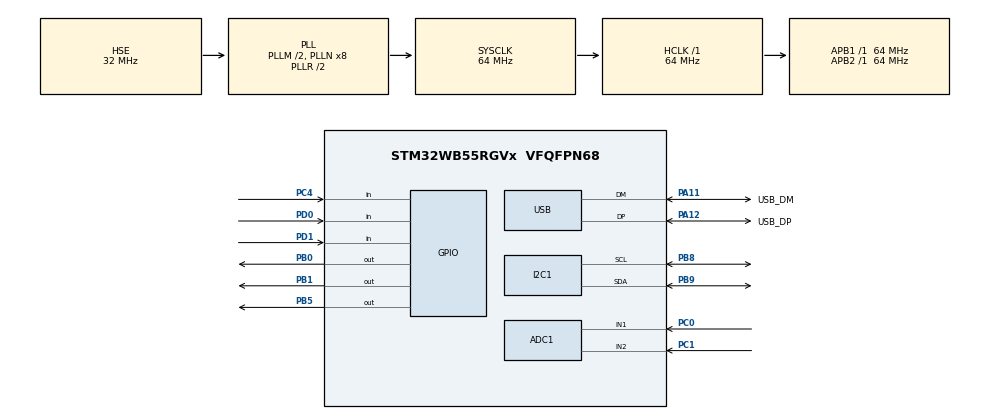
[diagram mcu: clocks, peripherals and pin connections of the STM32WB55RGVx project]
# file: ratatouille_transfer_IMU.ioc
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ADC1.Channel-0\#ChannelRegularConversion=ADC_CHANNEL_1
ADC1.Channel-1\#ChannelRegularConversion=ADC_CHANNEL_2
ADC1.ClockPrescaler=ADC_CLOCK_SYNC_PCLK_DIV1
ADC1.ContinuousConvMode=ENABLE
ADC1.DMAContinuousRequests=ENABLE
ADC1.NbrOfConversion=2
ADC1.NbrOfConversionFlag=1
ADC1.OffsetNumber-0\#ChannelRegularConversion=ADC_OFFSET_NONE
ADC1.OffsetNumber-1\#ChannelRegularConversion=ADC_OFFSET_NONE
ADC1.Rank-0\#ChannelRegularConversion=1
ADC1.Rank-1\#ChannelRegularConversion=2
ADC1.SamplingTime-0\#ChannelRegularConversion=ADC_SAMPLETIME_247CYCLES_5
ADC1.SamplingTime-1\#ChannelRegularConversion=ADC_SAMPLETIME_247CYCLES_5
ADC1.master=1
Dma.ADC1.0.Direction=DMA_PERIPH_TO_MEMORY
Dma.ADC1.0.EventEnable=DISABLE
Dma.ADC1.0.Instance=DMA1_Channel1
Dma.ADC1.0.MemDataAlignment=DMA_MDATAALIGN_HALFWORD
Dma.ADC1.0.MemInc=DMA_MINC_ENABLE
Dma.ADC1.0.Mode=DMA_CIRCULAR
Dma.ADC1.0.PeriphDataAlignment=DMA_PDATAALIGN_HALFWORD
Dma.ADC1.0.PeriphInc=DMA_PINC_DISABLE
Dma.ADC1.0.Polarity=HAL_DMAMUX_REQ_GEN_RISING
Dma.ADC1.0.Priority=DMA_PRIORITY_LOW
Dma.ADC1.0.RequestNumber=1
Dma.ADC1.0.SignalID=NONE
Dma.ADC1.0.SyncEnable=DISABLE
Dma.ADC1.0.SyncPolarity=HAL_DMAMUX_SYNC_NO_EVENT
Dma.ADC1.0.SyncRequestNumber=1
Dma.ADC1.0.SyncSignalID=NONE
Dma.Request0=ADC1
I2C1.Timing=0x10B17DB5
Mcu.Family=STM32WB
Mcu.Name=STM32WB55RGVx
Mcu.Package=VFQFPN68
NUCLEO-WB55RG.BUTTON=1
NUCLEO-WB55RG.BUTTON2=1
NUCLEO-WB55RG.BUTTON3=1
NUCLEO-WB55RG.LD1=true
NUCLEO-WB55RG.LD2=true
NUCLEO-WB55RG.LD3=true
NUCLEO-WB55RG.VCP=true
NVIC.ADC1_IRQn=true\:2\:0\:true\:false\:true\:true\:true\:true
NVIC.DMA1_Channel1_IRQn=true\:0\:0\:false\:false\:true\:false\:true\:true
NVIC.EXTI0_IRQn=true\:3\:0\:true\:false\:true\:false\:true\:true
NVIC.EXTI1_IRQn=true\:3\:0\:true\:false\:true\:false\:true\:true
NVIC.EXTI4_IRQn=true\:3\:0\:true\:false\:true\:false\:true\:true
NVIC.I2C1_ER_IRQn=true\:0\:0\:false\:false\:true\:true\:true\:true
NVIC.I2C1_EV_IRQn=true\:0\:0\:false\:false\:true\:true\:true\:true
NVIC.PriorityGroup=NVIC_PRIORITYGROUP_4
NVIC.TIM2_IRQn=true\:0\:0\:false\:false\:true\:true\:true\:true
NVIC.USB_HP_IRQn=true\:0\:0\:false\:false\:true\:true\:true\:true
NVIC.USB_LP_IRQn=true\:0\:0\:false\:false\:true\:true\:true\:true
OSC_IN.GPIO_Label=RCC_OSC_IN
OSC_IN.Mode=HSE-External-Oscillator
OSC_IN.Signal=RCC_OSC_IN
OSC_OUT.GPIO_Label=RCC_OSC_OUT
OSC_OUT.Mode=HSE-External-Oscillator
OSC_OUT.Signal=RCC_OSC_OUT
PA11.GPIO_Label=USB_DM
PA11.Mode=Device
PA11.Signal=USB_DM
PA12.GPIO_Label=USB_DP
PA12.Mode=Device
PA12.Signal=USB_DP
PA13.GPIO_Label=JTMS
PA13.Signal=SYS_JTMS-SWDIO
PA14.GPIO_Label=JTCK
PA14.Signal=SYS_JTCK-SWCLK
PB0.Signal=GPIO_Output
PB1.Signal=GPIO_Output
PB3.GPIO_Label=JTDO
PB3.Signal=SYS_JTDO-SWO
PB5.Signal=GPIO_Output
PB6.Signal=USART1_TX
PB7.Signal=USART1_RX
PB8.Mode=I2C
PB8.Signal=I2C1_SCL
PB9.Mode=I2C
PB9.Signal=I2C1_SDA
PC0.Signal=ADCx_IN1
PC1.Signal=ADCx_IN2
PC13.GPIO_Label=SYS_WKUP2
PC13.Signal=SYS_WKUP2
PC14-OSC32_IN.GPIO_Label=RCC_OSC32_IN
PC14-OSC32_IN.Mode=LSE-External-Oscillator
PC14-OSC32_IN.Signal=RCC_OSC32_IN
PC15-OSC32_OUT.GPIO_Label=RCC_OSC32_OUT
PC15-OSC32_OUT.Mode=LSE-External-Oscillator
PC15-OSC32_OUT.Signal=RCC_OSC32_OUT
PC4.Signal=GPIO_Input
PD0.Signal=GPIO_Input
PD1.Signal=GPIO_Input
ProjectManager.HeapSize=0x200
ProjectManager.StackSize=0x400
ProjectManager.TargetToolchain=STM32CubeIDE
RCC.ADCFreq_Value=48000000
RCC.AHB2CLKDivider=RCC_SYSCLK_DIV2
RCC.AHBFreq_Value=64000000
RCC.APB1Freq_Value=64000000
RCC.APB1TimFreq_Value=64000000
RCC.APB2Freq_Value=64000000
RCC.APB2TimFreq_Value=64000000
RCC.APB3Freq_Value=16000000
RCC.Cortex2_Div=SYSTICK_CLKSOURCE_HCLK_DIV8
RCC.CortexFreq_Value=64000000
RCC.HCLKFreq_Value=64000000
RCC.HSE_VALUE=32000000
RCC.HSI48_VALUE=48000000
RCC.HSI_VALUE=16000000
RCC.PLLM=RCC_PLLM_DIV2
RCC.PLLSAI1N=6
RCC.PLLSourceVirtual=RCC_PLLSOURCE_HSE
RCC.SMPSCLockSelection=RCC_SMPSCLKSOURCE_HSI
RCC.SMPSCLockSelectionVirtual=RCC_SMPSCLKSOURCE_HSI
RCC.SMPSCLockSelectionVirtualVirtual=RCC_SMPSCLKSOURCE_HSI
RCC.SMPSDivider=1
RCC.SYSCLKFreq_VALUE=64000000
RCC.SYSCLKSource=RCC_SYSCLKSOURCE_PLLCLK
RCC.USBFreq_Value=48000000
RCC.VCOOutputFreq_Value=128000000
SH.ADCx_IN1.0=ADC1_IN1,IN1-Single-Ended
SH.ADCx_IN2.0=ADC1_IN2,IN2-Single-Ended
TIM2.AutoReloadPreload=TIM_AUTORELOAD_PRELOAD_ENABLE
TIM2.CounterMode=TIM_COUNTERMODE_UP
TIM2.Period=64000-1
TIM2.Prescaler=10
TIM2.TIM_MasterOutputTrigger=TIM_TRGO_UPDATE
USB_DEVICE.CLASS_NAME_FS=CDC
USB_DEVICE.USBD_DEBUG_LEVEL=2
USB_DEVICE.VirtualMode=Cdc
USB_DEVICE.VirtualModeFS=Cdc_FS
VP_MEMORYMAP_VS_MEMORYMAP.Mode=CurAppReg
VP_NUCLEO-WB55RG_VS_BSP_COMMON.Mode=COMMON
VP_TIM2_VS_ClockSourceINT.Mode=Internal
VP_USB_DEVICE_VS_USB_DEVICE_CDC_FS.Mode=CDC_FS
board=NUCLEO-WB55RG

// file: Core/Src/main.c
/* USER CODE BEGIN Header */
/**
  ******************************************************************************
  * @file           : main.c
  * @brief          : Main program body
  ******************************************************************************
  * @attention
  *
  * Copyright (c) 2024 STMicroelectronics.
  * All rights reserved.
  *
  * This software is licensed under terms that can be found in the LICENSE file
  * in the root directory of this software component.
  * If no LICENSE file comes with this software, it is provided AS-IS.
  *
  ******************************************************************************
  */
/* USER CODE END Header */
#include "main.h"
#include "usb_device.h"

/* USER CODE BEGIN Includes */
#include <stdio.h>
#include <stdint.h>
#include <string.h>
#include "usbd_cdc_if.h"
#include "bmi160_wrapper.h"
/* USER CODE END Includes */

/* USER CODE BEGIN PTD */
BMI160_t imu_t;
/* USER CODE END PTD */

COM_InitTypeDef BspCOMInit;
ADC_HandleTypeDef hadc1;
DMA_HandleTypeDef hdma_adc1;

I2C_HandleTypeDef hi2c1;

TIM_HandleTypeDef htim2;

/* USER CODE BEGIN PV */

/* Analog */
uint16_t mic = 0;
uint16_t mic2 = 0;
uint16_t rawValues[2];
/* Analog END */

/* USB */
uint8_t message[] = "USB VCP Test\n";
uint8_t flag = 0;
char msg[50];

uint16_t a = 7;
uint16_t b = 9;
uint8_t USB_buffer[32];
size_t packet_length;
/* USB END */

/* Mouse */
int delay = 5;
int8_t x = 0;
int8_t y = 0;
/* Mouse END */

/* IMU */
float g_f32[3] = {0.0f, 0.0f, 0.0f};
float a_f32[3] = {0.0f, 0.0f, 0.0f};
float g = 9.81f;
/* IMU END */
/* USER CODE END PV */

void SystemClock_Config(void);
void PeriphCommonClock_Config(void);
static void MX_GPIO_Init(void);
static void MX_DMA_Init(void);
static void MX_ADC1_Init(void);
static void MX_TIM2_Init(void);
static void MX_I2C1_Init(void);
/* USER CODE BEGIN PFP */
void prepare_data_packet_both(float g_f32[3], float a_f32[3], uint16_t var1, uint16_t var2, uint8_t *buffer, size_t *length);
void prepare_data_packet_IMU(float g_f32[3], float a_f32[3], uint8_t *buffer, size_t *length);

/*unused/legacy */
void send_packet_joystick(int8_t x, int8_t y);
void move_square(int delay);
/* USER CODE END PFP */

/* USER CODE BEGIN 0 */
void HAL_TIM_PeriodElapsedCallback(TIM_HandleTypeDef *htim2)
  {
	////this updates the X and Y axes of my joystick
	  for(uint8_t i = 0; i<hadc1.Init.NbrOfConversion; i++){
		  mic = (uint16_t) rawValues[0];
		  mic2 = mic;
	  }
	  flag = 1;
	 ////This allows me to write to the serial monitor similar to the serial monitor on Arduino
	 ////Note STM32CUBEIDE does not have a serial monitor. You will need to download PuTTY to view
	 ////your serial output.
	  /*HAL_GPIO_TogglePin(LED_GREEN_GPIO_Port,LED_GREEN_Pin);
	  sprintf(msg, "X axis: %hu, Y axis: %hu \r\n", Xaxis, Yaxis);
	  status = CDC_Transmit_FS(msg, strlen((char*)msg));
	  if (status == USBD_OK) {
	  	  HAL_GPIO_TogglePin(LED_RED_GPIO_Port,LED_RED_Pin); // Example: Toggle LED on success
	  }*/
  }
/* USER CODE END 0 */

int main(void)
{

  /* MCU Configuration--------------------------------------------------------*/

  /* Reset of all peripherals, Initializes the Flash interface and the Systick. */
  HAL_Init();

  /* Configure the system clock */
  SystemClock_Config();

  /* Configure the peripherals common clocks */
  PeriphCommonClock_Config();

  /* Initialize all configured peripherals */
  MX_GPIO_Init();
  MX_DMA_Init();
  MX_ADC1_Init();
  MX_TIM2_Init();
  MX_USB_Device_Init();
  MX_I2C1_Init();
  /* USER CODE BEGIN 2 */
  ////This begins the process of storing our ADC readings into the DMA. The DMA can be thought of a temporary storage location.
  HAL_ADC_Start_DMA(&hadc1, (uint32_t *) rawValues, 2);
    ////This begins our timer 2
  HAL_TIM_Base_Start_IT(&htim2);

  while (BMI160_init(imu_t) == 1); // waits for IMU to be ready

  if (imu_t.INIT_OK_i8 != TRUE){
	  //HAL_GPIO_WritePin(LD3_GPIO_Port, LD3_Pin, SET);
  }

  /* USER CODE END 2 */

  /* Initialize leds */
  BSP_LED_Init(LED_BLUE);
  BSP_LED_Init(LED_GREEN);
  BSP_LED_Init(LED_RED);

  /* Initialize USER push-button, will be used to trigger an interrupt each time it's pressed.*/
  BSP_PB_Init(BUTTON_SW1, BUTTON_MODE_EXTI);
  BSP_PB_Init(BUTTON_SW2, BUTTON_MODE_EXTI);
  BSP_PB_Init(BUTTON_SW3, BUTTON_MODE_EXTI);

  /* Initialize COM1 port (115200, 8 bits (7-bit data + 1 stop bit), no parity */
  BspCOMInit.BaudRate   = 115200;
  BspCOMInit.WordLength = COM_WORDLENGTH_8B;
  BspCOMInit.StopBits   = COM_STOPBITS_1;
  BspCOMInit.Parity     = COM_PARITY_NONE;
  BspCOMInit.HwFlowCtl  = COM_HWCONTROL_NONE;
  if (BSP_COM_Init(COM1, &BspCOMInit) != BSP_ERROR_NONE)
  {
    Error_Handler();
  }

  /* Infinite loop */
  /* USER CODE BEGIN WHILE */
  /*                                                                          ********************************************************************* */
  while (1)
  {
	  bmi160ReadAccelGyro(&imu_t);

	  if (flag==1){
		  /*a_f32[0] = 1;
		  a_f32[1] = 2;
		  a_f32[2] = 3;

		  g_f32[0] = 4;
		  g_f32[1] = 5;
		  g_f32[2] = 6;*/
		  // Normal (old) orientation
//		  a_f32[0] = imu_t.BMI160_Ax_f32*g;
//		  a_f32[1] = imu_t.BMI160_Ay_f32*g;
//		  a_f32[2] = imu_t.BMI160_Az_f32*g;
//
//		  g_f32[0] = imu_t.BMI160_Gx_f32*0.0174533;
//		  g_f32[1] = imu_t.BMI160_Gy_f32*0.0174533;
//		  g_f32[2] = imu_t.BMI160_Gz_f32*0.0174533;

		  // head orientation
		  a_f32[1] = imu_t.BMI160_Ax_f32*g;
		  a_f32[2] = imu_t.BMI160_Ay_f32*g;
		  a_f32[0] = imu_t.BMI160_Az_f32*g;

		  g_f32[1] = imu_t.BMI160_Gx_f32*0.0174533;
		  g_f32[2] = imu_t.BMI160_Gy_f32*0.0174533;
		  g_f32[0] = imu_t.BMI160_Gz_f32*0.0174533;

		  prepare_data_packet_IMU(g_f32,a_f32,USB_buffer,&packet_length);
		  CDC_Transmit_FS(USB_buffer, packet_length);
		  BSP_LED_Toggle(LED_GREEN);
		  //HAL_GPIO_TogglePin(LD2_GPIO_Port,LD2_Pin);
		  //snprintf(msg, sizeof(msg), "a: %.2f, g: %.2f", a_f32[0], g_f32[0]);
		  //CDC_Transmit_FS((uint8_t *)msg, strlen(msg));

		  flag = 0;
	  }

	  /*HAL_GPIO_TogglePin(LED_GREEN_GPIO_Port,LED_GREEN_Pin);
	  status = CDC_Transmit_FS(message, strlen((char*)message));
	  if (status == USBD_OK) {
	      HAL_GPIO_TogglePin(LED_RED_GPIO_Port,LED_RED_Pin); // Example: Toggle LED on success
	  }
	  HAL_Delay(delay);*/

  /*                                                                          ********************************************************************* */
    /* USER CODE END WHILE */

  }
}

void SystemClock_Config(void)
{
  RCC_OscInitTypeDef RCC_OscInitStruct = {0};
  RCC_ClkInitTypeDef RCC_ClkInitStruct = {0};

  /** Configure the main internal regulator output voltage
  */
  __HAL_PWR_VOLTAGESCALING_CONFIG(PWR_REGULATOR_VOLTAGE_SCALE1);

  /** Initializes the RCC Oscillators according to the specified parameters
  * in the RCC_OscInitTypeDef structure.
  */
  RCC_OscInitStruct.OscillatorType = RCC_OSCILLATORTYPE_HSI|RCC_OSCILLATORTYPE_HSE;
  RCC_OscInitStruct.HSEState = RCC_HSE_ON;
  RCC_OscInitStruct.HSIState = RCC_HSI_ON;
  RCC_OscInitStruct.HSICalibrationValue = RCC_HSICALIBRATION_DEFAULT;
  RCC_OscInitStruct.PLL.PLLState = RCC_PLL_ON;
  RCC_OscInitStruct.PLL.PLLSource = RCC_PLLSOURCE_HSE;
  RCC_OscInitStruct.PLL.PLLM = RCC_PLLM_DIV2;
  RCC_OscInitStruct.PLL.PLLN = 8;
  RCC_OscInitStruct.PLL.PLLP = RCC_PLLP_DIV2;
  RCC_OscInitStruct.PLL.PLLR = RCC_PLLR_DIV2;
  RCC_OscInitStruct.PLL.PLLQ = RCC_PLLQ_DIV2;
  if (HAL_RCC_OscConfig(&RCC_OscInitStruct) != HAL_OK)
  {
    Error_Handler();
  }

  /** Configure the SYSCLKSource, HCLK, PCLK1 and PCLK2 clocks dividers
  */
  RCC_ClkInitStruct.ClockType = RCC_CLOCKTYPE_HCLK4|RCC_CLOCKTYPE_HCLK2
                              |RCC_CLOCKTYPE_HCLK|RCC_CLOCKTYPE_SYSCLK
                              |RCC_CLOCKTYPE_PCLK1|RCC_CLOCKTYPE_PCLK2;
  RCC_ClkInitStruct.SYSCLKSource = RCC_SYSCLKSOURCE_PLLCLK;
  RCC_ClkInitStruct.AHBCLKDivider = RCC_SYSCLK_DIV1;
  RCC_ClkInitStruct.APB1CLKDivider = RCC_HCLK_DIV1;
  RCC_ClkInitStruct.APB2CLKDivider = RCC_HCLK_DIV1;
  RCC_ClkInitStruct.AHBCLK2Divider = RCC_SYSCLK_DIV2;
  RCC_ClkInitStruct.AHBCLK4Divider = RCC_SYSCLK_DIV1;

  if (HAL_RCC_ClockConfig(&RCC_ClkInitStruct, FLASH_LATENCY_3) != HAL_OK)
  {
    Error_Handler();
  }
}

void PeriphCommonClock_Config(void)
{
  RCC_PeriphCLKInitTypeDef PeriphClkInitStruct = {0};

  /** Initializes the peripherals clock
  */
  PeriphClkInitStruct.PeriphClockSelection = RCC_PERIPHCLK_SMPS|RCC_PERIPHCLK_USB
                              |RCC_PERIPHCLK_ADC;
  PeriphClkInitStruct.PLLSAI1.PLLN = 6;
  PeriphClkInitStruct.PLLSAI1.PLLP = RCC_PLLP_DIV2;
  PeriphClkInitStruct.PLLSAI1.PLLQ = RCC_PLLQ_DIV2;
  PeriphClkInitStruct.PLLSAI1.PLLR = RCC_PLLR_DIV2;
  PeriphClkInitStruct.PLLSAI1.PLLSAI1ClockOut = RCC_PLLSAI1_USBCLK|RCC_PLLSAI1_ADCCLK;
  PeriphClkInitStruct.UsbClockSelection = RCC_USBCLKSOURCE_PLLSAI1;
  PeriphClkInitStruct.AdcClockSelection = RCC_ADCCLKSOURCE_PLLSAI1;
  PeriphClkInitStruct.SmpsClockSelection = RCC_SMPSCLKSOURCE_HSI;
  PeriphClkInitStruct.SmpsDivSelection = RCC_SMPSCLKDIV_RANGE0;

  if (HAL_RCCEx_PeriphCLKConfig(&PeriphClkInitStruct) != HAL_OK)
  {
    Error_Handler();
  }
}

static void MX_ADC1_Init(void)
{

  ADC_ChannelConfTypeDef sConfig = {0};

  /** Common config
  */
  hadc1.Instance = ADC1;
  hadc1.Init.ClockPrescaler = ADC_CLOCK_SYNC_PCLK_DIV1;
  hadc1.Init.Resolution = ADC_RESOLUTION_12B;
  hadc1.Init.DataAlign = ADC_DATAALIGN_RIGHT;
  hadc1.Init.ScanConvMode = ADC_SCAN_ENABLE;
  hadc1.Init.EOCSelection = ADC_EOC_SINGLE_CONV;
  hadc1.Init.LowPowerAutoWait = DISABLE;
  hadc1.Init.ContinuousConvMode = ENABLE;
  hadc1.Init.NbrOfConversion = 2;
  hadc1.Init.DiscontinuousConvMode = DISABLE;
  hadc1.Init.ExternalTrigConv = ADC_SOFTWARE_START;
  hadc1.Init.ExternalTrigConvEdge = ADC_EXTERNALTRIGCONVEDGE_NONE;
  hadc1.Init.DMAContinuousRequests = ENABLE;
  hadc1.Init.Overrun = ADC_OVR_DATA_PRESERVED;
  hadc1.Init.OversamplingMode = DISABLE;
  if (HAL_ADC_Init(&hadc1) != HAL_OK)
  {
    Error_Handler();
  }

  /** Configure Regular Channel
  */
  sConfig.Channel = ADC_CHANNEL_1;
  sConfig.Rank = ADC_REGULAR_RANK_1;
  sConfig.SamplingTime = ADC_SAMPLETIME_247CYCLES_5;
  sConfig.SingleDiff = ADC_SINGLE_ENDED;
  sConfig.OffsetNumber = ADC_OFFSET_NONE;
  sConfig.Offset = 0;
  if (HAL_ADC_ConfigChannel(&hadc1, &sConfig) != HAL_OK)
  {
    Error_Handler();
  }

  /** Configure Regular Channel
  */
  sConfig.Channel = ADC_CHANNEL_2;
  sConfig.Rank = ADC_REGULAR_RANK_2;
  if (HAL_ADC_ConfigChannel(&hadc1, &sConfig) != HAL_OK)
  {
    Error_Handler();
  }

}

static void MX_I2C1_Init(void)
{

  hi2c1.Instance = I2C1;
  hi2c1.Init.Timing = 0x10B17DB5;
  hi2c1.Init.OwnAddress1 = 0;
  hi2c1.Init.AddressingMode = I2C_ADDRESSINGMODE_7BIT;
  hi2c1.Init.DualAddressMode = I2C_DUALADDRESS_DISABLE;
  hi2c1.Init.OwnAddress2 = 0;
  hi2c1.Init.OwnAddress2Masks = I2C_OA2_NOMASK;
  hi2c1.Init.GeneralCallMode = I2C_GENERALCALL_DISABLE;
  hi2c1.Init.NoStretchMode = I2C_NOSTRETCH_DISABLE;
  if (HAL_I2C_Init(&hi2c1) != HAL_OK)
  {
    Error_Handler();
  }

  /** Configure Analogue filter
  */
  if (HAL_I2CEx_ConfigAnalogFilter(&hi2c1, I2C_ANALOGFILTER_ENABLE) != HAL_OK)
  {
    Error_Handler();
  }

  /** Configure Digital filter
  */
  if (HAL_I2CEx_ConfigDigitalFilter(&hi2c1, 0) != HAL_OK)
  {
    Error_Handler();
  }

}

static void MX_TIM2_Init(void)
{

  TIM_ClockConfigTypeDef sClockSourceConfig = {0};
  TIM_MasterConfigTypeDef sMasterConfig = {0};

  htim2.Instance = TIM2;
  htim2.Init.Prescaler = 10;
  htim2.Init.CounterMode = TIM_COUNTERMODE_UP;
  htim2.Init.Period = 64000-1;
  htim2.Init.ClockDivision = TIM_CLOCKDIVISION_DIV1;
  htim2.Init.AutoReloadPreload = TIM_AUTORELOAD_PRELOAD_ENABLE;
  if (HAL_TIM_Base_Init(&htim2) != HAL_OK)
  {
    Error_Handler();
  }
  sClockSourceConfig.ClockSource = TIM_CLOCKSOURCE_INTERNAL;
  if (HAL_TIM_ConfigClockSource(&htim2, &sClockSourceConfig) != HAL_OK)
  {
    Error_Handler();
  }
  sMasterConfig.MasterOutputTrigger = TIM_TRGO_UPDATE;
  sMasterConfig.MasterSlaveMode = TIM_MASTERSLAVEMODE_DISABLE;
  if (HAL_TIMEx_MasterConfigSynchronization(&htim2, &sMasterConfig) != HAL_OK)
  {
    Error_Handler();
  }

}

static void MX_DMA_Init(void)
{

  /* DMA controller clock enable */
  __HAL_RCC_DMAMUX1_CLK_ENABLE();
  __HAL_RCC_DMA1_CLK_ENABLE();

  /* DMA interrupt init */
  /* DMA1_Channel1_IRQn interrupt configuration */
  HAL_NVIC_SetPriority(DMA1_Channel1_IRQn, 0, 0);
  HAL_NVIC_EnableIRQ(DMA1_Channel1_IRQn);

}

static void MX_GPIO_Init(void)
{

  /* GPIO Ports Clock Enable */
  __HAL_RCC_GPIOC_CLK_ENABLE();
  __HAL_RCC_GPIOB_CLK_ENABLE();
  __HAL_RCC_GPIOA_CLK_ENABLE();

}

/* USER CODE BEGIN 4 */
void prepare_data_packet_both(float g_f32[3], float a_f32[3], uint16_t var1, uint16_t var2, uint8_t *buffer, size_t *length) {
    // Define the start byte
    buffer[0] = (uint8_t)-128;

    memcpy(&buffer[1], g_f32, sizeof(float) * 3);
    memcpy(&buffer[1 + sizeof(float) * 3], a_f32, sizeof(float) * 3);
    memcpy(&buffer[1 + 2 * sizeof(float) * 3], &var1, sizeof(uint16_t));
    memcpy(&buffer[1 + 2 * sizeof(float) * 3 + sizeof(uint16_t)], &var2, sizeof(uint16_t));
    // Copy the int8_t variables into the buffer
    /*buffer[1 + 2 * sizeof(float) * 3 + sizeof(uint16_t)] = (uint16_t)var1;
    buffer[1 + 2 * sizeof(float) * 3 + sizeof(uint16_t)] = (uint16_t)var2;*/

    // Set the total length of the packet
    *length = 1 + 2 * sizeof(float) * 3 + 2*sizeof(uint16_t);
}
void prepare_data_packet_IMU(float g_f32[3], float a_f32[3], uint8_t *buffer, size_t *length) {
    // Define the start byte
    buffer[0] = (uint8_t)-128;
    memcpy(&buffer[1], g_f32, sizeof(float) * 3);
    memcpy(&buffer[1 + sizeof(float) * 3], a_f32, sizeof(float) * 3);

    // Set the total length of the packet
    *length = 1 + 2 * sizeof(float) * 3;
}
void send_packet_joystick(int8_t value1, int8_t value2) {
    uint8_t packet[3];
    packet[0] = (uint8_t)0x80;             // Start byte (-128 or 0x80 in unsigned)
    packet[1] = (uint8_t)value1;           // First data byte (cast int8_t to uint8_t)
    packet[2] = (uint8_t)value2;           // Second data byte (cast int8_t to uint8_t)
    //packet[3] = (uint8_t)(value1 + value2); // Checksum (optional)

    // Send the packet over USB VCP
    CDC_Transmit_FS(packet, sizeof(packet));
}
void move_square(int delay){
	x = 0;
	y = 15;
	send_packet_joystick(x,y);
	HAL_Delay(delay);

	x = 15;
	y = 0;
	send_packet_joystick(x,y);
	HAL_Delay(delay);

	x = 0;
	y = -15;
	send_packet_joystick(x,y);
	HAL_Delay(delay);

	x = -15;
	y = 0;
	send_packet_joystick(x,y);
	HAL_Delay(delay);
}
/* USER CODE END 4 */

void Error_Handler(void)
{
  __disable_irq();
  while (1)
  {
  }
}
